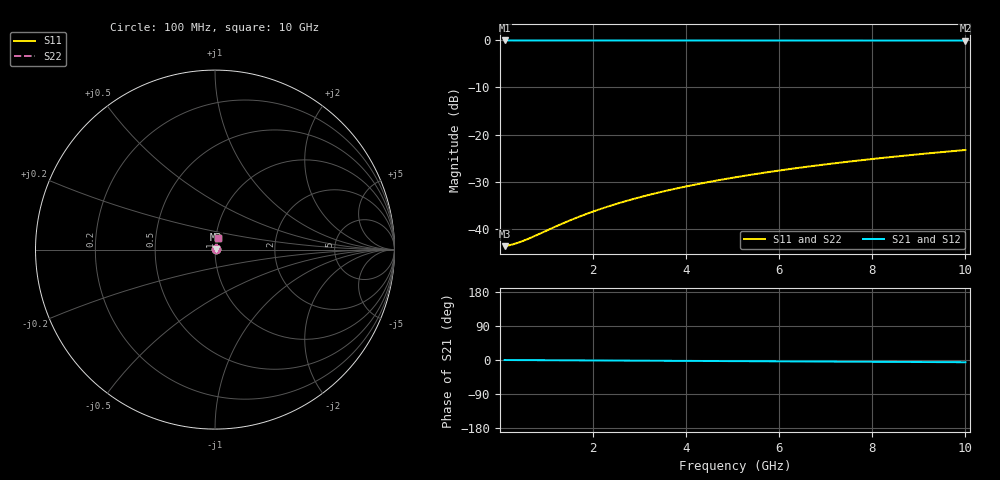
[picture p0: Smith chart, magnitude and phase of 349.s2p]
# Hz S RI R 50.00
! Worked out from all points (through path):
!   100 points, 100 MHz to 10 GHz, reference 50 ohm
!   highest |S21| = -0.06 dB at 100 MHz (marker M1); lowest = -0.1 dB at 10 GHz (marker M2)
!   lowest |S11| = -43.6 dB at 100 MHz (marker M3), VSWR 1.01, Z = 50.7 + j0.0687 ohm
!   |S11| at or under -10 dB: start of sweep to end of sweep
!   |S22| runs from -43.6 to -23.3 dB; largest |S21 - S12| = 0
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1e8  0.00655 0.000678  0.9935 -0.00102  0.9935 -0.00102  0.00655 0.000678
2e8  0.00659 0.00136  0.9934 -0.00205  0.9934 -0.00205  0.00659 0.00136
3e8  0.00662 0.00203  0.9934 -0.00307  0.9934 -0.00307  0.00662 0.00203
5e8  0.00668 0.00339  0.9933 -0.00512  0.9933 -0.00512  0.00668 0.00339
7e8  0.00674 0.00474  0.9933 -0.00716  0.9933 -0.00716  0.00674 0.00474
1.2e9  0.00687 0.00813  0.9931 -0.0123  0.9931 -0.0123  0.00687 0.00813
1.4e9  0.00693 0.00948  0.9931 -0.0143  0.9931 -0.0143  0.00693 0.00948
1.8e9  0.00705 0.0122  0.9929 -0.0184  0.9929 -0.0184  0.00705 0.0122
2.2e9  0.0072 0.0149  0.9928 -0.0225  0.9928 -0.0225  0.0072 0.0149
2.6e9  0.00736 0.0176  0.9926 -0.0266  0.9926 -0.0266  0.00736 0.0176
3e9  0.00754 0.0203  0.9924 -0.0307  0.9924 -0.0307  0.00754 0.0203
3.4e9  0.00774 0.023  0.9922 -0.0348  0.9922 -0.0348  0.00774 0.023
3.8e9  0.00797 0.0257  0.9919 -0.0389  0.9919 -0.0389  0.00797 0.0257
4.2e9  0.00821 0.0284  0.9917 -0.0429  0.9917 -0.0429  0.00821 0.0284
4.6e9  0.00847 0.0311  0.9914 -0.047  0.9914 -0.047  0.00847 0.0311
5.1e9  0.00884 0.0345  0.991 -0.0521  0.991 -0.0521  0.00884 0.0345
5.9e9  0.00949 0.0398  0.9903 -0.0603  0.9903 -0.0603  0.00949 0.0398
6.7e9  0.0102 0.0452  0.9895 -0.0684  0.9895 -0.0684  0.0102 0.0452
7.5e9  0.011 0.0506  0.9886 -0.0765  0.9886 -0.0765  0.011 0.0506
8.4e9  0.0121 0.0566  0.9875 -0.0857  0.9875 -0.0857  0.0121 0.0566
9.2e9  0.0131 0.0619  0.9864 -0.0938  0.9864 -0.0938  0.0131 0.0619
1e10  0.0142 0.0672  0.9852 -0.1019  0.9852 -0.1019  0.0142 0.0672
